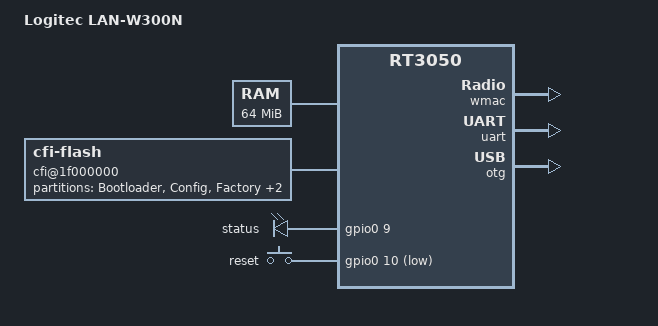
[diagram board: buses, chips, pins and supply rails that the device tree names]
/dts-v1/;

#include "rt3050.dtsi"

/ {
	compatible = "LAN-W300N", "ralink,rt3050-soc";
	model = "Logitec LAN-W300N";

	memory@0 {
		device_type = "memory";
		reg = <0x0 0x4000000>;
	};

	cfi@1f000000 {
		compatible = "cfi-flash";
		reg = <0x1f000000 0x400000>;
		bank-width = <2>;
		device-width = <2>;
		#address-cells = <1>;
		#size-cells = <1>;

		partition@0 {
			label = "Bootloader";
			reg = <0x0 0x30000>;
			read-only;
		};

		devdata: partition@30000 {
			label = "Config";
			reg = <0x00030000 0x00010000>;
			read-only;
		};

		factory: partition@40000 {
			label = "Factory";
			reg = <0x00040000 0x00010000>;
			read-only;
		};
		firmware: partition@50000 {
			label = "firmware";
			reg = <0x00050000 0x003b0000>;
			read-only;
		};
		upgrade: partition@400000 {
			label = "upgrade";
			reg = <0x00050000 0x003b0000>;
			read-only;
		};

	};

	gpio-leds {
		compatible = "gpio-leds";

		status {
			label = "status";
			gpios = <&gpio0 9 0>;
		};

	};
	gpio-keys-polled {
		compatible = "gpio-keys-polled";
		#address-cells = <1>;
		#size-cells = <0>;
		poll-interval = <20>;

		reset {
			label = "reset";
			gpios = <&gpio0 10 1>;
			linux,code = <0x198>;
		};

	};
};

&pinctrl {
	state_default: pinctrl0 {
		uartf {
			ralink,group = "uartf";
			ralink,function = "gpio";
		};
		gpio {
			ralink,group = "i2c", "jtag";
			ralink,function = "gpio";
		};

		rgmii {
			ralink,group = "rgmii";
			ralink,function = "rgmii";
		};

		mdio {
			ralink,group = "mdio";
			ralink,function = "mdio";
		};
	};
};

&ethernet {
	mtd-mac-address = <&factory 0x28>;
};

&esw {
	mediatek,portmap = <0x2f>;
};

&wmac {
	ralink,mtd-eeprom = <&factory 0>;
};

&uart {
        status = "okay";
};

&otg {
        status = "okay";
};

